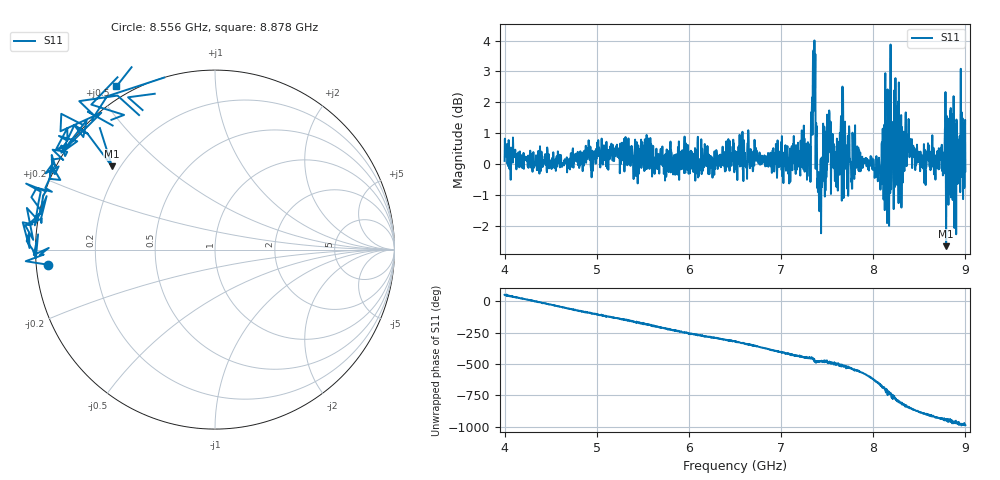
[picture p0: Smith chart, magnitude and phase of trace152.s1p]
! Created with skrf 1.8.0 (http://scikit-rf.org).
# Hz S RI R 50.0
!freq ReS11 ImS11
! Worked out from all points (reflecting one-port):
!   1601 points, 4 GHz to 9 GHz, reference 50 ohm
!   lowest |S11| = -2.6 dB at 8.791 GHz (marker M1), VSWR 6.63, Z = 8.46 + j17.2 ohm
!   phase of S11 starts at 53 deg and turns -1041 deg over the sweep
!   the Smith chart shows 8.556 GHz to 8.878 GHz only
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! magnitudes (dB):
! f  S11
! 4 GHz  0.1
! 4.625 GHz  -0.1
! 5.25 GHz  -0.3
! 5.875 GHz  -0.1
! 6.5 GHz  0.3
! 7.125 GHz  0.5
! 7.297 GHz  0.4
! 7.347 GHz  3.7
! 7.369 GHz  2.5
! 7.4 GHz  -0.9
! 7.419 GHz  -0.8
! 7.512 GHz  0.4
! 7.591 GHz  0.1
! 7.669 GHz  1.4
! 7.703 GHz  -0.1
! 7.75 GHz  0.1
! 7.822 GHz  0.4
! 8.062 GHz  0.2
! 8.134 GHz  -0.2
! 8.209 GHz  1.4
! 8.262 GHz  -0.7
! 8.312 GHz  1.2
! 8.375 GHz  0.6
! 8.553 GHz  0.1
! 8.791 GHz  -2.6
! 8.906 GHz  1.3
! 8.959 GHz  1.7
! 9 GHz  -0.2
